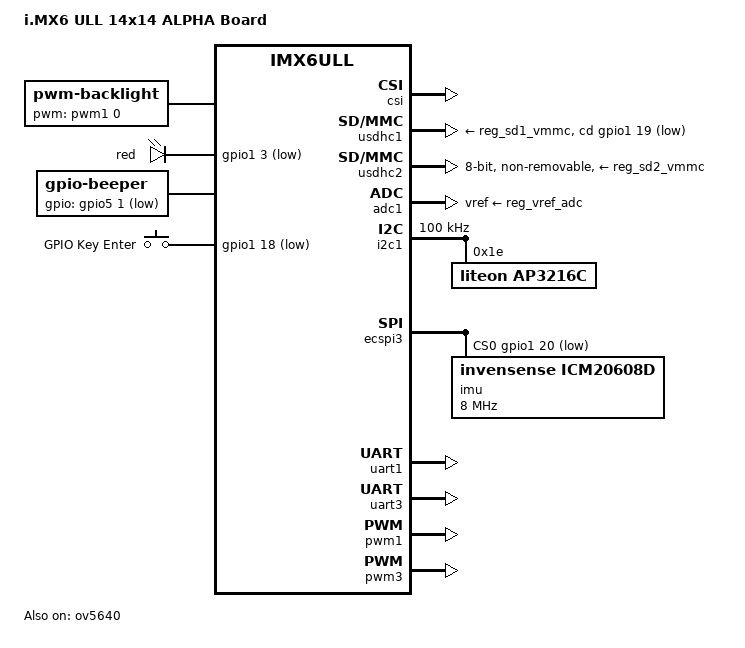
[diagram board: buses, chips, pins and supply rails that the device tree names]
/*
 * Copyright 2019 NXP
 *
 * This program is free software; you can redistribute it and/or
 * modify it under the terms of the GNU General Public License
 * as published by the Free Software Foundation; either version 2
 * of the License, or (at your option) any later version.
 */

/dts-v1/;

#include "imx6ull.dtsi"
#include "imx6ull-14x14-alpha.dtsi"

/ {
	model = "i.MX6 ULL 14x14 ALPHA Board";
	compatible = "alpha,imx6ull-14x14-alpha-emmc", "fsl,imx6ull-14x14-evk", "fsl,imx6ull";

	backlight {
		compatible = "pwm-backlight";
		pwms = <&pwm1 0 500000>;
		brightness-levels = <0 4 8 16 32 64 128 255>;
		default-brightness-level = <6>;
		status = "okay";
	};

	leds {
		compatible = "gpio-leds";
		pinctrl-names = "default";
		pinctrl-0 = <&pinctrl_gpio_leds>;

		led1 {
			label = "red";
			gpios = <&gpio1 3 GPIO_ACTIVE_LOW>;
			linux,default-trigger = "heartbeat";
			default-state = "on";
		};
	};

	beeper {
		compatible = "gpio-beeper";
		pinctrl-names = "default";
		pinctrl-0 = <&pinctrl_beep>;
		gpios = <&gpio5 1 GPIO_ACTIVE_LOW>;
		status = "okay";
	};

	gpio-keys {
		compatible = "gpio-keys";
		pinctrl-names = "default";
		pinctrl-0 = <&pinctrl_gpio_keys>;
		#address-cells = <1>;
		#size-cells = <0>;
		autorepeat;

		enter-key {
			debounce-interval = <10>;
			gpios = <&gpio1 18 GPIO_ACTIVE_LOW>;
			label = "GPIO Key Enter";
			linux,code = <KEY_ENTER>;
		};
	};
};

&clks {
	assigned-clocks = <&clks IMX6UL_CLK_PLL3_PFD2>,
			  <&clks IMX6UL_CLK_PLL4_AUDIO_DIV>;
	assigned-clock-rates = <320000000>, <786432000>;
};

&csi {
	status = "okay";
};

&ov5640 {
	status = "okay";
};

&usdhc1 {
	pinctrl-names = "default", "state_100mhz", "state_200mhz";
	pinctrl-0 = <&pinctrl_usdhc1>;
	pinctrl-1 = <&pinctrl_usdhc1_100mhz>;
	pinctrl-2 = <&pinctrl_usdhc1_200mhz>;
	cd-gpios = <&gpio1 19 GPIO_ACTIVE_LOW>;
	keep-power-in-suspend;
	wakeup-source;
	vmmc-supply = <&reg_sd1_vmmc>;
	status = "okay";
};

&usdhc2 {
	pinctrl-names = "default", "state_100mhz", "state_200mhz";
	pinctrl-0 = <&pinctrl_usdhc2_8bit>;
	pinctrl-1 = <&pinctrl_usdhc2_8bit_100mhz>;
	pinctrl-2 = <&pinctrl_usdhc2_8bit_200mhz>;
	bus-width = <8>;
	non-removable;
	keep-power-in-suspend;
	wakeup-source;
	vmmc-supply = <&reg_sd2_vmmc>;
	status = "okay";
};

&adc1 {
	pinctrl-names = "default";
	pinctrl-0 = <&pinctrl_adc1>;
	num-channels = <2>;
	vref-supply = <&reg_vref_adc>;
	status = "okay";
};

&i2c1 {
	clock-frequency = <100000>;
	pinctrl-names = "default";
	pinctrl-0 = <&pinctrl_i2c1>;
	status = "okay";

	ap3216c@1e {
		compatible = "liteon,ap3216c";
		reg = <0x1e>;
	};
};

&ecspi3 {
	fsl,spi-num-chipselects = <1>;
	cs-gpios = <&gpio1 20 GPIO_ACTIVE_LOW>;
	pinctrl-names = "default";
	pinctrl-0 = <&pinctrl_spi3>;
	status = "okay";

	imu: icm20608@0 {
		compatible = "invensense,icm20608d";
		spi-max-frequency = <8000000>;
		reg = <0>;
	};
};

&uart1 {
	pinctrl-names = "default";
	pinctrl-0 = <&pinctrl_uart1>;
	status = "okay";
};

&uart3 {
	pinctrl-names = "default";
	pinctrl-0 = <&pinctrl_uart3>;
	status = "okay";
};

&pwm1 {
	#pwm-cells = <2>;
	pinctrl-names = "default";
	pinctrl-0 = <&pinctrl_pwm1>;
	status = "okay";
};

&pwm3 {
	pinctrl-names = "default";
	pinctrl-0 = <&pinctrl_pwm3>;
	status = "okay";
};
